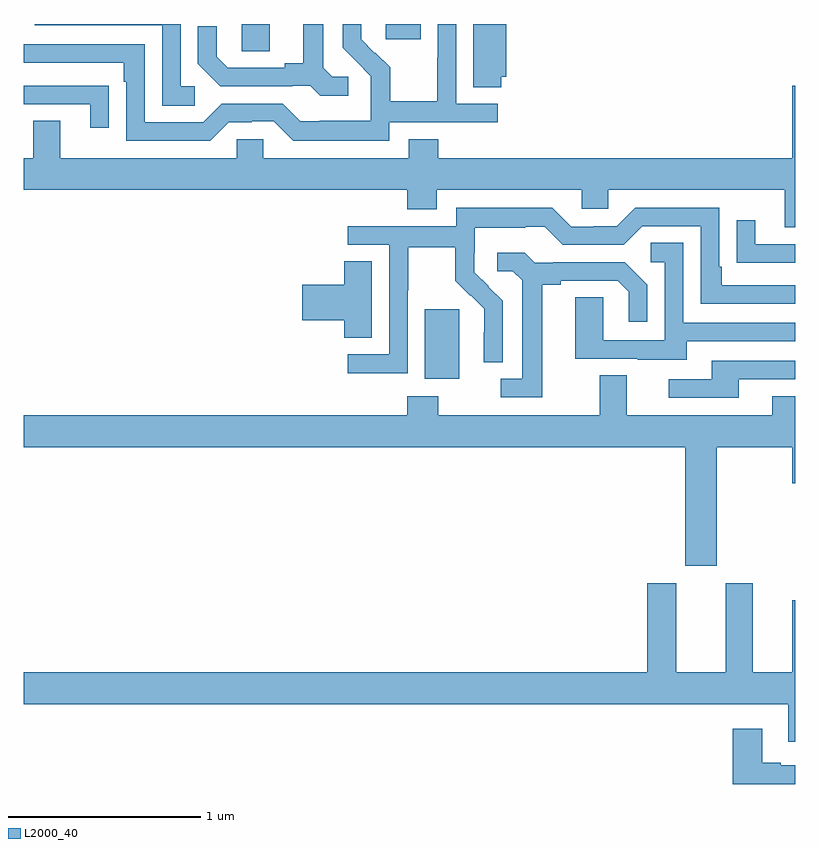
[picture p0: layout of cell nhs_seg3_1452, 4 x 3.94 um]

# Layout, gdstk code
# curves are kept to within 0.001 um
import gdstk
lib = gdstk.Library(unit=1e-6, precision=1e-09)
def R(c, l, rs):  # rectangles x0, y0, x1, y1
    for r in rs: c.add(gdstk.rectangle(r[:2], r[2:], *l))
def P(c, l, *ps):  # polygons
    for p in ps: c.add(gdstk.Polygon(p, *l))
L2000_40 = (2000, 40)

nhs_seg3_1452 = lib.new_cell('nhs_seg3_1452')
R(nhs_seg3_1452, L2000_40, [(187.079,742.562,187.258,742.923), (186.132,744.259,186.277,744.4), (186.878,744.321,187.057,744.4)])
P(nhs_seg3_1452, L2000_40, [(186.894,743.892),(187.456,743.892),(187.456,743.988),(187.242,743.988),(187.242,744.4),(187.146,744.4),(187.146,744.224),(187.144,744.224),(187.144,744.001),(186.899,744.001),(186.899,744.175),(186.822,744.252),(186.819,744.249),(186.749,744.32),(186.749,744.4),(186.654,744.4),(186.654,744.278),(186.8,744.13),(186.8,744.033),(186.798,744.033),(186.798,743.899),(186.535,743.899),(186.535,743.895),(186.435,743.895),(186.342,743.988),(186.027,743.988),(185.931,743.892),(185.628,743.892),(185.628,744.294),(185,744.294),(185,744.198),(185.519,744.198),(185.519,744.101),(185.532,744.101),(185.532,743.796),(185.967,743.796),(186.063,743.892),(186.182,743.892),(186.182,743.895),(186.297,743.895),(186.397,743.795),(186.894,743.795)],
  [(187.475,744.126),(187.502,744.126),(187.502,744.4),(187.331,744.4),(187.331,744.073),(187.475,744.073)],
  [(186.682,744.126),(186.6,744.126),(186.553,744.173),(186.553,744.4),(186.449,744.4),(186.449,744.197),(186.353,744.197),(186.353,744.174),(186.058,744.174),(186.001,744.231),(186.001,744.388),(185.904,744.388),(185.904,744.194),(186.02,744.078),(186.392,744.078),(186.392,744.081),(186.486,744.081),(186.538,744.029),(186.682,744.029)],
  [(185.887,744.078),(185.814,744.078),(185.814,744.4),(185.059,744.4),(185.059,744.393),(185.718,744.393),(185.718,743.977),(185.887,743.977)],
  [(185.441,744.08),(185.339,744.08),(185.339,744.081),(185,744.081),(185,743.985),(185.345,743.985),(185.345,743.862),(185.441,743.862)],
  [(189,744.079),(188.984,744.079),(188.984,743.704),(187.148,743.704),(187.148,743.803),(186.995,743.803),(186.995,743.704),(186.243,743.704),(186.243,743.802),(186.105,743.802),(186.105,743.704),(185.191,743.704),(185.191,743.899),(185.051,743.899),(185.051,743.704),(185,743.704),(185,743.54),(186.989,743.54),(186.989,743.441),(187.141,743.441),(187.141,743.54),(187.893,743.54),(187.893,743.442),(188.031,743.442),(188.031,743.54),(188.945,743.54),(188.945,743.346),(189,743.346)],
  [(186.99,743.02),(186.993,743.02),(186.993,743.244),(187.237,743.244),(187.237,743.069),(187.314,742.992),(187.317,742.995),(187.388,742.925),(187.388,742.802),(187.386,742.802),(187.386,742.648),(187.482,742.648),(187.482,742.966),(187.336,743.114),(187.336,743.211),(187.338,743.211),(187.338,743.345),(187.601,743.345),(187.601,743.349),(187.701,743.349),(187.794,743.256),(188.109,743.256),(188.205,743.352),(188.508,743.352),(188.508,742.95),(189,742.95),(189,743.046),(188.617,743.046),(188.617,743.143),(188.604,743.143),(188.604,743.448),(188.169,743.448),(188.073,743.352),(187.955,743.352),(187.955,743.349),(187.839,743.349),(187.739,743.449),(187.242,743.449),(187.242,743.352),(186.681,743.352),(186.681,743.256),(186.894,743.256),(186.894,742.689),(186.681,742.689),(186.681,742.591),(186.99,742.591)],
  [(189,743.259),(188.791,743.259),(188.791,743.383),(188.695,743.383),(188.695,743.164),(188.797,743.164),(188.797,743.163),(189,743.163)],
  [(188.437,742.755),(189,742.755),(189,742.851),(188.418,742.851),(188.418,743.267),(188.25,743.267),(188.25,743.166),(188.322,743.166),(188.322,742.761),(188.004,742.761),(188.004,742.985),(187.859,742.985),(187.859,742.665),(188.183,742.665),(188.183,742.661),(188.437,742.661)],
  [(187.687,743.048),(187.783,743.048),(187.783,743.07),(188.078,743.07),(188.135,743.013),(188.135,742.857),(188.232,742.857),(188.232,743.05),(188.116,743.166),(187.744,743.166),(187.744,743.163),(187.65,743.163),(187.598,743.215),(187.455,743.215),(187.455,743.118),(187.536,743.118),(187.583,743.071),(187.583,742.563),(187.473,742.563),(187.473,742.467),(187.687,742.467)],
  [(186.805,743.171),(186.662,743.171),(186.662,743.048),(186.444,743.048),(186.444,742.865),(186.662,742.865),(186.662,742.774),(186.805,742.774)],
  [(188.707,742.56),(189,742.56),(189,742.656),(188.567,742.656),(188.567,742.56),(188.343,742.56),(188.343,742.464),(188.707,742.464)],
  [(188.593,742.208),(188.984,742.208),(188.984,742.02),(189,742.02),(189,742.471),(188.879,742.471),(188.879,742.372),(188.125,742.372),(188.125,742.58),(187.985,742.58),(187.985,742.372),(187.149,742.372),(187.149,742.471),(186.989,742.471),(186.989,742.372),(185,742.372),(185,742.208),(188.429,742.208),(188.429,741.594),(188.593,741.594)],
  [(189,741.415),(188.984,741.415),(188.984,741.04),(188.779,741.04),(188.779,741.502),(188.639,741.502),(188.639,741.04),(188.383,741.04),(188.383,741.502),(188.231,741.502),(188.231,741.04),(185,741.04),(185,740.876),(188.963,740.876),(188.963,740.682),(189,740.682)],
  [(189,740.559),(188.923,740.559),(188.923,740.572),(188.827,740.572),(188.827,740.749),(188.675,740.749),(188.675,740.462),(189,740.462)])

lib.write_gds('nhs_seg3_1452.gds')
